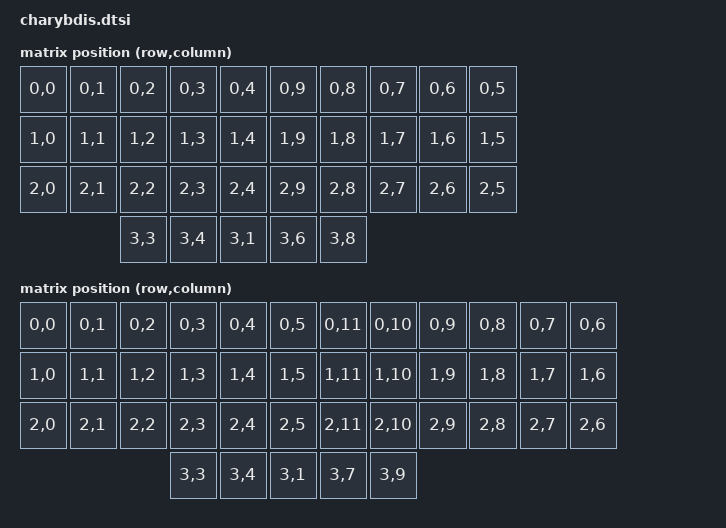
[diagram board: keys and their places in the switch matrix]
#include <dt-bindings/zmk/matrix_transform.h>
#include "charybdis_layout.dtsi"

/ {
    chosen {
        zmk,kscan = &kscan0;
        zmk,physical-layout = &charybdis_5col_layout;
    };

    kscan0: kscan {
        diode-direction = "col2row";
    };

    charybdis_5col_transform: charybdis_5col_transform {
        compatible = "zmk,matrix-transform";
        columns = <10>;
        rows = <4>;

        map = <
    RC(0,0) RC(0,1) RC(0,2) RC(0,3) RC(0,4)  RC(0,9) RC(0,8) RC(0,7) RC(0,6) RC(0,5)
    RC(1,0) RC(1,1) RC(1,2) RC(1,3) RC(1,4)  RC(1,9) RC(1,8) RC(1,7) RC(1,6) RC(1,5)
    RC(2,0) RC(2,1) RC(2,2) RC(2,3) RC(2,4)  RC(2,9) RC(2,8) RC(2,7) RC(2,6) RC(2,5)
                    RC(3,3) RC(3,4) RC(3,1)  RC(3,6) RC(3,8)
        >;
    };

    charybdis_6col_transform: charybdis_6col_transform {
        compatible = "zmk,matrix-transform";
        columns = <12>;
        rows = <4>;

        map = <
    RC(0,0) RC(0,1) RC(0,2) RC(0,3) RC(0,4) RC(0,5)  RC(0,11) RC(0,10) RC(0,9) RC(0,8) RC(0,7) RC(0,6)
    RC(1,0) RC(1,1) RC(1,2) RC(1,3) RC(1,4) RC(1,5)  RC(1,11) RC(1,10) RC(1,9) RC(1,8) RC(1,7) RC(1,6)
    RC(2,0) RC(2,1) RC(2,2) RC(2,3) RC(2,4) RC(2,5)  RC(2,11) RC(2,10) RC(2,9) RC(2,8) RC(2,7) RC(2,6)
                            RC(3,3) RC(3,4) RC(3,1)  RC(3,7)  RC(3,9)
        >;
    };

    charybdis_position_map {
        compatible = "zmk,physical-layout-position-map";
        complete;

        ten {
            physical-layout = <&charybdis_5col_layout>;
            positions
                = <35  0  1  2  3  4   5  6  7  8  9 36>
                , <37 10 11 12 13 14  15 16 17 18 19 38>
                , <39 20 21 22 23 24  25 26 27 28 29 40>
                , <       30 31 32  33 34          >
                ;
        };

        twelve {
            physical-layout = <&charybdis_6col_layout>;
            positions
                = <  0  1  2  3  4  5   6  7  8  9 10 11 >
                , < 12 13 14 15 16 17  18 19 20 21 22 23 >
                , < 24 25 26 27 28 29  30 31 32 33 34 35 >
                , <          36 37 38  39 40             >
                ;
        };
    };
};
